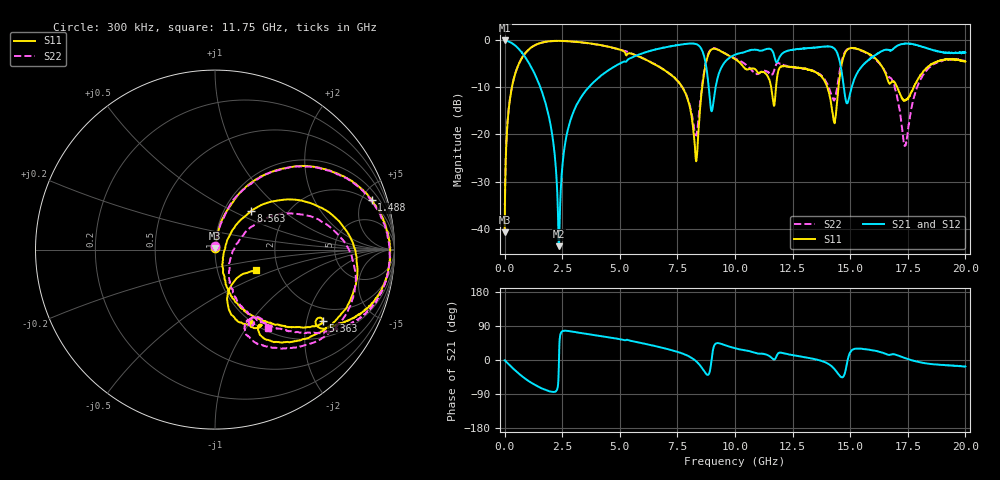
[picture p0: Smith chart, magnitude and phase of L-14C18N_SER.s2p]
!P/N: L-14C18NJV4
!Agilent N5230A: A.07.50.26
!Date: Tuesday, October 28, 2008 10:37:53
!Correction: S11(Full 2 Port(1,2))
!S21(Full 2 Port(1,2))
!S12(Full 2 Port(1,2))
!S22(Full 2 Port(1,2))
!S2P File: Measurements: S11, S21, S12, S22:
# Hz S  dB  R 50
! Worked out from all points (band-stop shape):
!   1601 points, 300 kHz to 20 GHz, reference 50 ohm
!   highest |S21| = -0.12 dB at 300 kHz (marker M1); lowest = -43.7 dB at 2.363 GHz (marker M2)
!   |S21| within 3 dB of the highest: 5.822 GHz to 8.64 GHz (2.817 GHz wide, 39 % of centre); 16.13 GHz to end of sweep (the widest 2 of 5)
!   lowest |S11| = -40.8 dB at 300 kHz (marker M3), VSWR 1.02, Z = 49.9 + j0.912 ohm
!   |S11| at or under -10 dB: 7.709 GHz to 8.575 GHz (865.7 MHz wide, 10.6 % of centre); 14 GHz to 14.49 GHz (487.4 MHz wide, 3.42 % of centre); 17.04 GHz to 17.76 GHz (714.2 MHz wide, 4.11 % of centre) (the widest 3 of 5)
!   |S22| runs from -34.9 to -0.2 dB; largest |S21 - S12| = 0.022
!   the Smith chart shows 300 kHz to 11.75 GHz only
!   S11 on the Smith chart (normalised r, x): 300 kHz: 1.00, +0.02; 1.488 GHz: 1.76, +5.98; 5.363 GHz: 1.53, -2.49; 8.563 GHz: 1.34, +0.63; 11.75 GHz: 1.54, -0.38
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300000  -40.76 94.4  -0.12 -0.9  -0.14 -0.5  -34.64 96.2
3.627946e8  -8.93 65.7  -0.85 -22.1  -0.85 -22.1  -8.96 65.5
1.487778e9  -0.77 17.5  -9.23 -71.4  -9.24 -71.4  -0.78 17.2
2.037769e9  -0.26 3.3  -19.18 -83.7  -19.20 -83.9  -0.27 2.4
2.362765e9  -0.20 -3.2  -43.66 14.0  -43.53 12.5  -0.22 -4.4
2.70026e9  -0.26 -8.4  -19.98 77.1  -20.00 77.1  -0.28 -10.2
3.33775e9  -0.52 -16.4  -12.00 70.8  -11.99 70.7  -0.55 -18.7
5.36272e9  -2.88 -33.4  -4.12 52.5  -4.13 52.6  -2.63 -38.9
6.6752e9  -5.62 -52.2  -1.88 34.7  -1.84 34.4  -5.61 -53.7
7.825183e9  -11.08 -70.1  -0.85 14.4  -0.88 14.5  -11.03 -67.2
8.300176e9  -25.37 -29.4  -0.88 -2.4  -0.87 -2.5  -20.16 -22.4
8.562672e9  -10.57 46.9  -2.10 -20.9  -2.12 -21.0  -9.96 31.6
9.000165e9  -1.98 -6.2  -15.03 9.2  -15.03 9.2  -1.88 -14.3
1.000015e10  -4.06 -55.3  -3.13 31.1  -3.16 31.0  -3.94 -59.4
1.175012e10  -11.77 -26.8  -4.26 3.3  -4.24 3.4  -5.61 -56.0
1.33376e10  -6.53 -76.7  -1.65 3.7  -1.73 3.8  -6.42 -88.1
1.431259e10  -17.35 -39.5  -1.82 -23.7  -1.86 -23.6  -12.59 -51.2
1.482508e10  -2.36 -15.8  -13.14 -19.5  -13.13 -20.0  -2.20 -38.8
1.667505e10  -9.08 -39.2  -2.14 13.5  -2.15 13.6  -7.85 -73.1
1.738754e10  -12.85 11.0  -0.80 5.0  -0.81 4.8  -22.23 -176.5
1.825003e10  -6.29 60.8  -1.66 -8.5  -1.60 -8.6  -6.84 91.7
2e10  -4.56 60.4  -2.67 -17.1  -2.64 -18.5  -4.51 82.4
